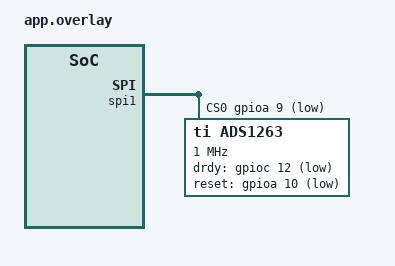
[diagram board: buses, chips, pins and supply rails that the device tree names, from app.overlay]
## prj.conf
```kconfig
# nothing here
CONFIG_SPI=y
CONFIG_GPIO=y
CONFIG_ADC=y

CONFIG_ADC_ADS126X=y

CONFIG_LOG=y
CONFIG_ADC_LOG_LEVEL_DBG=y
# Enable floating point format support for printk and logging
CONFIG_CBPRINTF_FP_SUPPORT=y

# Ensure the Hardware Floating Point Unit is active (if your MCU has one)
CONFIG_FPU=y
CONFIG_LOG_BUFFER_SIZE=32768
CONFIG_LOG_MODE_IMMEDIATE=y
```

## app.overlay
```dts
/* app.overlay */

&spi1 {
    status = "okay";

    cs-gpios = <&gpioa 9 GPIO_ACTIVE_LOW>;

    ads1263: ads1263@0 {

        compatible = "ti,ads1263";

        reg = <0>;

        spi-max-frequency = <1000000>;

        drdy-gpios = <&gpioc 12 GPIO_ACTIVE_LOW>;

        reset-gpios = <&gpioa 10 GPIO_ACTIVE_LOW>;
        #io-channel-cells = <1>;
    };
};
```

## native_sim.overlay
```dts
/*
 * Copyright (c) 2020, Linaro Ltd.
 *
 * SPDX-License-Identifier: Apache-2.0
 *
 * Application overlay for testing driver builds
 *
 * Names in this file should be chosen in a way that won't conflict
 * with real-world devicetree nodes, to allow these tests to run on
 * (and be extended to test) real hardware.
 */

/ {
	test {
		#address-cells = <1>;
		#size-cells = <1>;

		adc_emul {
			compatible = "zephyr,adc-emul";
			nchannels = <2>;
			ref-internal-mv = <3300>;
			ref-external1-mv = <5000>;
			#io-channel-cells = <1>;
			status = "okay";
		};

		test_gpio: gpio@deadbeef {
			compatible = "vnd,gpio";
			gpio-controller;
			reg = <0xdeadbeef 0x1000>;
			#gpio-cells = <0x2>;
			status = "okay";
		};

		test_i2c: i2c@11112222 {
			#address-cells = <1>;
			#size-cells = <0>;
			compatible = "vnd,i2c";
			reg = <0x11112222 0x1000>;
			status = "okay";
			clock-frequency = <100000>;

			test_i2c_ads1013: ads1013@0 {
				compatible = "ti,ads1013";
				reg = <0x0>;
				#io-channel-cells = <1>;
			};

			test_i2c_ads1014: ads1014@1 {
				compatible = "ti,ads1014";
				reg = <0x1>;
				alert-rdy-gpios = <&test_gpio 0 0>;
				#io-channel-cells = <1>;
			};

			test_i2c_ads1015: ads1015@2 {
				compatible = "ti,ads1015";
				reg = <0x2>;
				alert-rdy-gpios = <&test_gpio 0 0>;
				#io-channel-cells = <1>;
			};

			test_i2c_ads1113: ads1113@3 {
				compatible = "ti,ads1113";
				reg = <0x3>;
				#io-channel-cells = <1>;
			};

			test_i2c_ads1114: ads1114@4 {
				compatible = "ti,ads1114";
				reg = <0x4>;
				alert-rdy-gpios = <&test_gpio 0 0>;
				#io-channel-cells = <1>;
			};

			test_i2c_ads1115: ads1115@5 {
				compatible = "ti,ads1115";
				reg = <0x5>;
				alert-rdy-gpios = <&test_gpio 0 0>;
				#io-channel-cells = <1>;
			};

			test_i2c_ads1119: ads1119@6 {
				compatible = "ti,ads1119";
				reg = <0x6>;
				#io-channel-cells = <1>;
			};

			test_i2c_ads1112: ads1112@7 {
				compatible = "ti,ads1112";
				reg = <0x7>;
				#io-channel-cells = <1>;
			};

			test_i2c_ltc2451: ltc2451@8 {
				compatible = "lltc,ltc2451";
				reg = <0x8>;
				conversion-speed = <60>;
				#io-channel-cells = <1>;
			};

			test_i2c_ad559x: ad559x@9 {
				compatible = "adi,ad559x";
				status = "okay";
				reg = <0x9>;
				#io-channel-cells = <1>;
				reset-gpios = <&test_gpio 0 0>;

				test_i2c_ad559x_adc: adc-controller {
					compatible = "adi,ad559x-adc";
					#io-channel-cells = <1>;
				};
			};

			test_i2c_m5pm1: pmic@6e {
				compatible = "m5stack,m5pm1";
				reg = <0x6e>;

				test_i2c_m5pm1_adc: adc {
					compatible = "m5stack,m5pm1-adc";
					#io-channel-cells = <1>;
				};
			};

			test_i2c_tla2021: tla2021@a {
				compatible = "ti,tla2021";
				reg = <0xa>;
				#io-channel-cells = <1>;
			};

			test_i2c_tla2022: tla2022@b {
				compatible = "ti,tla2022";
				reg = <0xb>;
				#io-channel-cells = <1>;
			};

			test_i2c_tla2024: tla2024@c {
				compatible = "ti,tla2024";
				reg = <0xc>;
				#io-channel-cells = <1>;
			};

			test_i2c_tla2528: tla2528@d {
				compatible = "ti,tla2528";
				reg = <0xd>;
				#io-channel-cells = <1>;

				test_i2c_tla2528_adc: adc {
					compatible = "ti,tla2528-adc";
					status = "okay";
					#io-channel-cells = <1>;
				};
			};

			test_i2c_ads7828: ads7828@48 {
				compatible = "ti,ads7828";
				reg = <0x48>;
				#io-channel-cells = <1>;
			};

			test_i2c_ads7830: ads7830@49 {
				compatible = "ti,ads7830";
				reg = <0x49>;
				#io-channel-cells = <1>;
			};

			test_i2c_adc081c021: adc081c021@50 {
				compatible = "ti,adc081c021";
				reg = <0x50>;
				#io-channel-cells = <1>;
			};

			test_i2c_adc081c027: adc081c027@51 {
				compatible = "ti,adc081c027";
				reg = <0x51>;
				#io-channel-cells = <1>;
			};

			test_i2c_adc101c021: adc101c021@52 {
				compatible = "ti,adc101c021";
				reg = <0x52>;
				#io-channel-cells = <1>;
			};

			test_i2c_adc101c027: adc101c027@53 {
				compatible = "ti,adc101c027";
				reg = <0x53>;
				#io-channel-cells = <1>;
			};

			test_i2c_adc121c021: adc121c021@54 {
				compatible = "ti,adc121c021";
				reg = <0x54>;
				#io-channel-cells = <1>;
			};

			test_i2c_adc121c027: adc121c027@55 {
				compatible = "ti,adc121c027";
				reg = <0x55>;
				#io-channel-cells = <1>;
			};
		};

		test_spi: spi@33334444 {
			#address-cells = <1>;
			#size-cells = <0>;
			compatible = "vnd,spi";
			reg = <0x33334444 0x1000>;
			status = "okay";
			clock-frequency = <2000000>;

			/* one entry for every devices at spi.dtsi */
			cs-gpios = <&test_gpio 0 0>,
				   <&test_gpio 0 0>,
				   <&test_gpio 0 0>,
				   <&test_gpio 0 0>,
				   <&test_gpio 0 0>,
				   <&test_gpio 0 0>,
				   <&test_gpio 0 0>,
				   <&test_gpio 0 0>,
				   <&test_gpio 0 0>,
				   <&test_gpio 0 0>,
				   <&test_gpio 0 0>,
				   <&test_gpio 0 0>,
				   <&test_gpio 0 0>,
				   <&test_gpio 0 0>,
				   <&test_gpio 0 0>,
				   <&test_gpio 0 0>,
				   <&test_gpio 0 0>,
				   <&test_gpio 0 0>,
				   <&test_gpio 0 0>,
				   <&test_gpio 0 0>,
				   <&test_gpio 0 0>,
				   <&test_gpio 0 0>,
				   <&test_gpio 0 0>,
				   <&test_gpio 0 0>,
				   <&test_gpio 0 0>,
				   <&test_gpio 0 0>,
				   <&test_gpio 0 0>,
				   <&test_gpio 0 0>,
				   <&test_gpio 0 0>,
				   <&test_gpio 0 0>,
				   <&test_gpio 0 0>;

			test_spi_mcp3204: mcp3204@0 {
				compatible = "microchip,mcp3204";
				reg = <0>;
				spi-max-frequency = <0>;
				#io-channel-cells = <1>;
			};

			test_spi_lmp90077: lmp90077@1 {
				compatible = "ti,lmp90077";
				reg = <0x1>;
				spi-max-frequency = <0>;
				drdyb-gpios = <&test_gpio 0 0>;
				#io-channel-cells = <1>;
			};

			test_spi_lmp90078: lmp90078@2 {
				compatible = "ti,lmp90078";
				reg = <0x2>;
				spi-max-frequency = <0>;
				drdyb-gpios = <&test_gpio 0 0>;
				#io-channel-cells = <1>;
			};

			test_spi_lmp90079: lmp90079@3 {
				compatible = "ti,lmp90079";
				reg = <0x3>;
				spi-max-frequency = <0>;
				drdyb-gpios = <&test_gpio 0 0>;
				#io-channel-cells = <1>;
			};

			test_spi_lmp90080: lmp90080@4 {
				compatible = "ti,lmp90080";
				reg = <0x4>;
				spi-max-frequency = <0>;
				drdyb-gpios = <&test_gpio 0 0>;
				#io-channel-cells = <1>;
			};

			test_spi_lmp90097: lmp90097@5 {
				compatible = "ti,lmp90097";
				reg = <0x5>;
				spi-max-frequency = <0>;
				drdyb-gpios = <&test_gpio 0 0>;
				#io-channel-cells = <1>;
			};

			test_spi_lmp90098: lmp90098@6 {
				compatible = "ti,lmp90098";
				reg = <0x6>;
				spi-max-frequency = <0>;
				drdyb-gpios = <&test_gpio 0 0>;
				#io-channel-cells = <1>;
			};

			test_spi_lmp90099: lmp90099@7 {
				compatible = "ti,lmp90099";
				reg = <0x7>;
				spi-max-frequency = <0>;
				drdyb-gpios = <&test_gpio 0 0>;
				#io-channel-cells = <1>;
			};

			test_spi_lmp90100: lmp90100@8 {
				compatible = "ti,lmp90100";
				reg = <0x8>;
				spi-max-frequency = <0>;
				drdyb-gpios = <&test_gpio 0 0>;
				#io-channel-cells = <1>;
			};

			test_spi_ads7052: ads7052@9 {
				compatible = "ti,ads7052";
				reg = <0x9>;
				spi-max-frequency = <12000000>;
				#io-channel-cells = <1>;
			};

			test_spi_max11254: max11254@a {
				compatible = "maxim,max11254";
				reg = <0xa>;
				spi-max-frequency = <0>;
				gpio0-enable;
				gpio1-enable;
				gpio0-direction;
				gpio1-direction;
				gpo0-enable;
				gpo1-enable;
				drdy-gpios = <&test_gpio 0 0>;
				self-calibration;
				#io-channel-cells = <1>;
			};

			test_spi_max11253: max11253@b {
				compatible = "maxim,max11253";
				reg = <0xb>;
				spi-max-frequency = <0>;
				gpio0-enable;
				gpio1-enable;
				gpio0-direction;
				gpio1-direction;
				gpo0-enable;
				gpo1-enable;
				drdy-gpios = <&test_gpio 0 0>;
				self-calibration;
				#io-channel-cells = <1>;
			};

			test_spi_ads114s08: ads114s08@c {
				compatible = "ti,ads114s08";
				reg = <0xc>;
				spi-max-frequency = <0>;
				#io-channel-cells = <1>;
				reset-gpios = <&test_gpio 0 0>;
				drdy-gpios = <&test_gpio 0 0>;
				start-sync-gpios = <&test_gpio 0 0>;
			};

			test_spi_max11102: max11102@d {
				compatible = "maxim,max11102";
				reg = <0xd>;
				spi-max-frequency = <0>;
				#io-channel-cells = <1>;
				chsel-gpios = <&test_gpio 0 0>;
			};

			test_spi_max11103: max11103@e {
				compatible = "maxim,max11103";
				reg = <0xe>;
				spi-max-frequency = <0>;
				#io-channel-cells = <1>;
				chsel-gpios = <&test_gpio 0 0>;
			};

			test_spi_max11105: max11105@f {
				compatible = "maxim,max11105";
				reg = <0xf>;
				spi-max-frequency = <0>;
				#io-channel-cells = <1>;
			};

			test_spi_max11106: max11106@10 {
				compatible = "maxim,max11106";
				reg = <0x10>;
				spi-max-frequency = <0>;
				#io-channel-cells = <1>;
				chsel-gpios = <&test_gpio 0 0>;
			};

			test_spi_max11110: max11110@11 {
				compatible = "maxim,max11110";
				reg = <0x11>;
				spi-max-frequency = <0>;
				#io-channel-cells = <1>;
			};

			test_spi_max11111: max11111@12 {
				compatible = "maxim,max11111";
				reg = <0x12>;
				spi-max-frequency = <0>;
				#io-channel-cells = <1>;
				chsel-gpios = <&test_gpio 0 0>;
			};

			test_spi_max11115: max11115@13 {
				compatible = "maxim,max11115";
				reg = <0x13>;
				spi-max-frequency = <0>;
				#io-channel-cells = <1>;
			};

			test_spi_max11116: max11116@14 {
				compatible = "maxim,max11116";
				reg = <0x14>;
				spi-max-frequency = <0>;
				#io-channel-cells = <1>;
			};

			test_spi_max11117: max11117@15 {
				compatible = "maxim,max11117";
				reg = <0x15>;
				spi-max-frequency = <0>;
				#io-channel-cells = <1>;
			};

			test_spi_ad559x: ad559x@16 {
				compatible = "adi,ad559x";
				status = "okay";
				reg = <0x16>;
				spi-max-frequency = <0>;
				reset-gpios = <&test_gpio 0 0>;

				test_spi_ad559x_adc: adc-controller {
					compatible = "adi,ad559x-adc";
					#io-channel-cells = <1>;
				};
			};

			test_spi_ads131m02: ads131m02@17 {
				compatible = "ti,ads131m02";
				reg = <0x17>;
				spi-max-frequency = <0>;
				#io-channel-cells = <1>;
				drdy-gpios = <&test_gpio 0 0>;
			};

			test_spi_ad7124: ad7124@18 {
				compatible = "adi,ad7124-adc";
				reg = <0x18>;
				spi-max-frequency = <0>;
				#io-channel-cells = <1>;
				active-device = <1>;
			};

			test_spi_ad4130: ad41304@19 {
				compatible = "adi,ad4130-adc";
				reg = <0x19>;
				spi-max-frequency = <0>;
				#io-channel-cells = <1>;
			};

			test_spi_mcp356xr: mcp356xr@18 {
				compatible = "microchip,mcp356xr";
				reg = <0x1a>;
				spi-max-frequency = <0>;
				#io-channel-cells = <1>;

				address = <1>;
				analog-clock-prescaler = <0>;
				boost-current-bias = <0>;
				irq-gpios = <&test_gpio 0 0>;
			};

			test_spi_adc124s021: adc124s021@1b {
				compatible = "ti,adc124s021";
				reg = <0x1b>;
				spi-max-frequency = <1000000>;
				#io-channel-cells = <1>;
			};

			test_spi_ad4170: ad4170@21 {
				compatible = "adi,ad4170-adc";
				reg = <0x21>;
				spi-max-frequency = <0>;
				#io-channel-cells = <1>;
			};

			test_spi_ad4190: ad4190@22 {
				compatible = "adi,ad4190-adc";
				reg = <0x22>;
				spi-max-frequency = <0>;
				#io-channel-cells = <1>;
			};

			test_spi_ad4195: ad4195@23 {
				compatible = "adi,ad4195-adc";
				reg = <0x23>;
				spi-max-frequency = <0>;
				#io-channel-cells = <1>;
			};

			test_spi_ads7950: ads7950@24 {
				compatible = "ti,ads7950";
				reg = <0x24>;
				spi-max-frequency = <0>;
				#io-channel-cells = <1>;
			};

			test_spi_ads7951: ads7951@25 {
				compatible = "ti,ads7951";
				reg = <0x25>;
				spi-max-frequency = <0>;
				#io-channel-cells = <1>;
			};

			test_spi_ads7952: ads7952@26 {
				compatible = "ti,ads7952";
				reg = <0x26>;
				spi-max-frequency = <0>;
				#io-channel-cells = <1>;
			};

			test_spi_ads7953: ads7953@27 {
				compatible = "ti,ads7953";
				reg = <0x27>;
				spi-max-frequency = <0>;
				#io-channel-cells = <1>;
			};

			test_spi_ads7954: ads7954@28 {
				compatible = "ti,ads7954";
				reg = <0x28>;
				spi-max-frequency = <0>;
				#io-channel-cells = <1>;
			};

			test_spi_ads7955: ads7955@29 {
				compatible = "ti,ads7955";
				reg = <0x29>;
				spi-max-frequency = <0>;
				#io-channel-cells = <1>;
			};

			test_spi_ads7956: ads7956@2a {
				compatible = "ti,ads7956";
				reg = <0x2a>;
				spi-max-frequency = <0>;
				#io-channel-cells = <1>;
			};

			test_spi_ads7957: ads7957@2b {
				compatible = "ti,ads7957";
				reg = <0x2b>;
				spi-max-frequency = <0>;
				#io-channel-cells = <1>;
			};

			test_spi_ads7958: ads7958@2c {
				compatible = "ti,ads7958";
				reg = <0x2c>;
				spi-max-frequency = <0>;
				#io-channel-cells = <1>;
			};

			test_spi_ads7959: ads7959@2d {
				compatible = "ti,ads7959";
				reg = <0x2d>;
				spi-max-frequency = <0>;
				#io-channel-cells = <1>;
			};

			test_spi_ads7960: ads7960@2e {
				compatible = "ti,ads7960";
				reg = <0x2e>;
				spi-max-frequency = <0>;
				#io-channel-cells = <1>;
			};

			test_spi_ads7961: ads7961@2f {
				compatible = "ti,ads7961";
				reg = <0x2f>;
				spi-max-frequency = <0>;
				#io-channel-cells = <1>;
			};

			test_spi_ads1220: ads1220@30 {
				compatible = "ti,ads1220";
				reg = <0x24>;
				spi-max-frequency = <4000000>;
				drdy-gpios = <&test_gpio 0 0>;
				#io-channel-cells = <1>;
				#address-cells = <1>;
				#size-cells = <0>;

				channel@0 {
					reg = <0>;
					zephyr,gain = "ADC_GAIN_1";
					zephyr,reference = "ADC_REF_INTERNAL";
					zephyr,acquisition-time = <ADC_ACQ_TIME_DEFAULT>;
				};
			};

			test_spi_max2253x: max2253x@30 {
				compatible = "maxim,max2253x";
				reg = <0x30>;
				spi-max-frequency = <0>;
				#io-channel-cells = <1>;
				int-gpios = <&test_gpio 0 GPIO_ACTIVE_LOW>;
			};

			test_spi_ad4190_8: ad4190-8@31 {
				compatible = "adi,ad4190-8-adc";
				reg = <0x31>;
				spi-max-frequency = <0>;
				#io-channel-cells = <1>;
			};

			test_spi_ad4195_8: ad4195-8@32 {
				compatible = "adi,ad4195-8-adc";
				reg = <0x32>;
				spi-max-frequency = <0>;
				#io-channel-cells = <1>;
			};

			test_spi_ads1262: ads1262@33 {
				compatible = "ti,ads1262";
				reg = <0x33>;
				spi-max-frequency = <1000000>;
				drdy-gpios = <&test_gpio 0 0>;
				#io-channel-cells = <1>;
			};

			test_spi_ads1263: ads1263@34 {
				compatible = "ti,ads1263";
				reg = <0x34>;
				spi-max-frequency = <1000000>;
				drdy-gpios = <&test_gpio 0 0>;
				#io-channel-cells = <1>;
			};
		};
	};
};
```

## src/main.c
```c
/*
 * Copyright (c) 2012-2014 Wind River Systems, Inc.
 *
 * SPDX-License-Identifier: Apache-2.0
 */

#include <zephyr/kernel.h>
#include <zephyr/device.h>
#include <zephyr/drivers/adc.h>
#include <zephyr/drivers/adc/ads126x.h>

#define ADS1263_NODE DT_NODELABEL(ads1263)

int main(void)
{
    const struct device *dev = DEVICE_DT_GET(ADS1263_NODE);

    int ret;
    int32_t sample;
    int32_t sample1;

    struct adc_channel_cfg channel_cfg = {
        .channel_id = 0,
        .gain = ADC_GAIN_1,
        .reference = ADC_REF_INTERNAL,
        .acquisition_time = ADC_ACQ_TIME_DEFAULT,
		.differential = false,
#if defined(CONFIG_ADC_CONFIGURABLE_INPUTS)
        .input_positive = ADS126X_MUX_AIN0, /* AIN0 */
#endif
    };

    struct adc_channel_cfg channel_2_cfg = {
        .channel_id = 1,
        .gain = ADC_GAIN_1,
        .reference = ADC_REF_INTERNAL,
        .acquisition_time = ADC_ACQ_TIME_DEFAULT,
		.differential = true,
#if defined(CONFIG_ADC_CONFIGURABLE_INPUTS)
        .input_positive = ADS126X_MUX_AIN3, /* AIN0 */
        .input_negative = ADS126X_MUX_AIN2, /* AIN0 */
#endif
    };

    struct adc_sequence sequence = {
        .channels = 1,
        .buffer = &sample,
        .buffer_size = sizeof(sample),
        .resolution = 32,
        .oversampling = 0,
    };

    struct adc_sequence sequence_1 = {
        .channels = 2,
        .buffer = &sample1,
        .buffer_size = sizeof(sample1),
        .resolution = 32,
        .oversampling = 0,
    };

    printf("ADS1263 Driver Validation\r\n");

    if (!device_is_ready(dev)) {
        printf("ADS1263 device not ready\r\n");
        return 0;
    }

    ret = adc_channel_setup(dev, &channel_cfg);
    if (ret) {
        printf("adc_channel_setup() failed (%d)\r\n", ret);
        return 0;
    }

    ret = adc_channel_setup(dev, &channel_2_cfg);
    if (ret) {
        printf("adc channel_2_cfg setup() failed (%d)\r\n", ret);
        return 0;
    }

    k_sleep(K_SECONDS(1));

    // adc_read(dev, &sequence);

    while (1) {

        static bool once = true;

        if (once) {
            // once = false;
            adc_read(dev, &sequence);
            adc_read(dev, &sequence_1);
        }
        k_sleep(K_SECONDS(1));
    }
}
```
